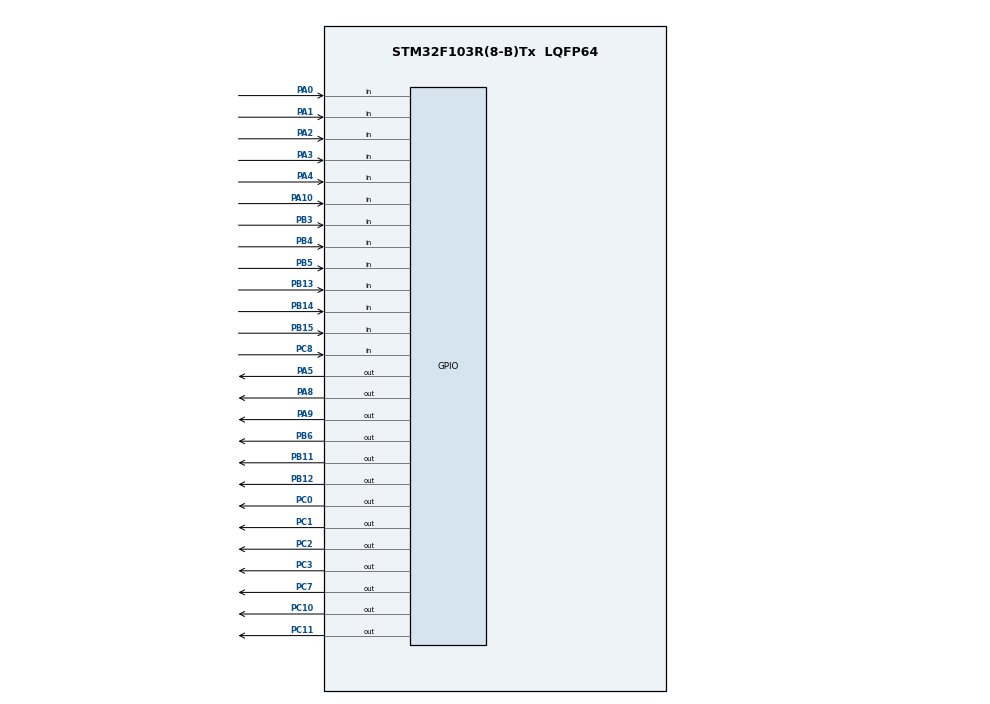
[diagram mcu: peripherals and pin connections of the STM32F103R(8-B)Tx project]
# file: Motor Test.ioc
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Mcu.Family=STM32F1
PC10.Signal=GPIO_Output
PC11.Signal=GPIO_Output
PC8.Signal=GPIO_Input
PC2.Signal=GPIO_Output
PC0.Signal=GPIO_Output
RCC.APB1CLKDivider=RCC_HCLK_DIV16
PB11.Signal=GPIO_Output
PB13.Signal=GPIO_Input
PB15.Signal=GPIO_Input
ProjectManager.StackSize=0x400
PA0-WKUP.Signal=GPIO_Input
PA13.Signal=SYS_JTMS-SWDIO
ProjectManager.TargetToolchain=STM32CubeIDE
PA9.Signal=GPIO_Output
PB6.Signal=GPIO_Output
PC7.Signal=GPIO_Output
PC3.Signal=GPIO_Output
PA1.Signal=GPIO_Input
PB14.Signal=GPIO_Input
PA5.Signal=GPIO_Output
board=custom
RCC.APB2Freq_Value=8000000
PA14.Mode=Serial_Wire
PA8.Signal=GPIO_Output
PA13.Mode=Serial_Wire
Mcu.Name=STM32F103R(8-B)Tx
PA2.Signal=GPIO_Input
PB3.Signal=GPIO_Input
PA4.Signal=GPIO_Input
Mcu.Package=LQFP64
PB5.Signal=GPIO_Input
PA10.Signal=GPIO_Input
PA14.Signal=SYS_JTCK-SWCLK
ProjectManager.HeapSize=0x200
NVIC.PriorityGroup=NVIC_PRIORITYGROUP_4
RCC.APB1TimFreq_Value=1000000
RCC.APB1Freq_Value=500000
PC1.Signal=GPIO_Output
PB12.Signal=GPIO_Output
PB4.Signal=GPIO_Input
PA3.Signal=GPIO_Input

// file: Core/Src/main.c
/* USER CODE BEGIN Header */
/**
 ******************************************************************************
 * @file           : main.c
 * @brief          : Main program body
 ******************************************************************************
 * @attention
 *
 * <h2><center>&copy; Copyright (c) 2021 STMicroelectronics.
 * All rights reserved.</center></h2>
 *
 * This software component is licensed by ST under BSD 3-Clause license,
 * the "License"; You may not use this file except in compliance with the
 * License. You may obtain a copy of the License at:
 *                        opensource.org/licenses/BSD-3-Clause
 *
 ******************************************************************************
 */
/* USER CODE END Header */
#include "main.h"

void SystemClock_Config(void);
static void MX_GPIO_Init(void);
/* USER CODE BEGIN PFP */
void Motors_Fw(void);
void Motors_Rv(void);
void Turn_R(void);
void Turn_L(void);
void Motors_Stp(void);
void Delay(uint32_t count);

uint16_t ultraSonicF(void);
uint16_t ultraSonicR(void);
uint16_t ultraSonicL(void);
uint16_t ultraSonicB(void);
/* USER CODE END PFP */

/* USER CODE BEGIN 0 */
const uint32_t motorDelay = 480;
//used to control the delay of the motor

const uint16_t defVal = 4000;
//used as default value for distance measurement using ultrasonic
//distance value will never be 4000

const uint16_t obstDistance = 39;
//maximum distance from robot to obstacle when moving ahead
const uint16_t turnDist = 150;
//maximum distance from robot to obstacle when turning
/* USER CODE END 0 */

int main(void)
{

  /* MCU Configuration--------------------------------------------------------*/

  /* Reset of all peripherals, Initializes the Flash interface and the Systick. */
  HAL_Init();

  /* Configure the system clock */
  SystemClock_Config();

  /* Initialize all configured peripherals */
  MX_GPIO_Init();
  /* USER CODE BEGIN 2 */
	int state = 1;

  /* USER CODE END 2 */

  /* Infinite loop */
  /* USER CODE BEGIN WHILE */
	while (1) {
		HAL_GPIO_WritePin(GPIOA, GPIO_PIN_8, GPIO_PIN_RESET);
////		HAL_Delay(2000);
////		HAL_GPIO_WritePin(GPIOA, GPIO_PIN_9, GPIO_PIN_RESET);
////		HAL_Delay(2000);

		if (HAL_GPIO_ReadPin(GPIOB, GPIO_PIN_15)) {
			state = 8;
			HAL_GPIO_WritePin(GPIOA, GPIO_PIN_5, GPIO_PIN_SET);
		} else {
			state = 3;
			HAL_GPIO_WritePin(GPIOA, GPIO_PIN_5, GPIO_PIN_RESET);
		}
		//HAL_Delay(5000);

		Motors_Fw();
//		Motors_Rv();
//		Turn_R();
//		Turn_L();
//		Motors_Stp();
    /* USER CODE END WHILE */

	}
}

void SystemClock_Config(void)
{
  RCC_OscInitTypeDef RCC_OscInitStruct = {0};
  RCC_ClkInitTypeDef RCC_ClkInitStruct = {0};

  /** Initializes the RCC Oscillators according to the specified parameters
  * in the RCC_OscInitTypeDef structure.
  */
  RCC_OscInitStruct.OscillatorType = RCC_OSCILLATORTYPE_HSI;
  RCC_OscInitStruct.HSIState = RCC_HSI_ON;
  RCC_OscInitStruct.HSICalibrationValue = RCC_HSICALIBRATION_DEFAULT;
  RCC_OscInitStruct.PLL.PLLState = RCC_PLL_NONE;
  if (HAL_RCC_OscConfig(&RCC_OscInitStruct) != HAL_OK)
  {
    Error_Handler();
  }
  /** Initializes the CPU, AHB and APB buses clocks
  */
  RCC_ClkInitStruct.ClockType = RCC_CLOCKTYPE_HCLK|RCC_CLOCKTYPE_SYSCLK
                              |RCC_CLOCKTYPE_PCLK1|RCC_CLOCKTYPE_PCLK2;
  RCC_ClkInitStruct.SYSCLKSource = RCC_SYSCLKSOURCE_HSI;
  RCC_ClkInitStruct.AHBCLKDivider = RCC_SYSCLK_DIV1;
  RCC_ClkInitStruct.APB1CLKDivider = RCC_HCLK_DIV16;
  RCC_ClkInitStruct.APB2CLKDivider = RCC_HCLK_DIV1;

  if (HAL_RCC_ClockConfig(&RCC_ClkInitStruct, FLASH_LATENCY_0) != HAL_OK)
  {
    Error_Handler();
  }
}

static void MX_GPIO_Init(void)
{
  GPIO_InitTypeDef GPIO_InitStruct = {0};

  /* GPIO Ports Clock Enable */
  __HAL_RCC_GPIOC_CLK_ENABLE();
  __HAL_RCC_GPIOA_CLK_ENABLE();
  __HAL_RCC_GPIOB_CLK_ENABLE();

  /*Configure GPIO pin Output Level */
  HAL_GPIO_WritePin(GPIOC, GPIO_PIN_0|GPIO_PIN_1|GPIO_PIN_2|GPIO_PIN_3
                          |GPIO_PIN_7|GPIO_PIN_10|GPIO_PIN_11, GPIO_PIN_RESET);

  /*Configure GPIO pin Output Level */
  HAL_GPIO_WritePin(GPIOA, GPIO_PIN_5|GPIO_PIN_8|GPIO_PIN_9, GPIO_PIN_RESET);

  /*Configure GPIO pin Output Level */
  HAL_GPIO_WritePin(GPIOB, GPIO_PIN_11|GPIO_PIN_12|GPIO_PIN_6, GPIO_PIN_RESET);

  /*Configure GPIO pins : PC0 PC1 PC2 PC3
                           PC7 PC10 PC11 */
  GPIO_InitStruct.Pin = GPIO_PIN_0|GPIO_PIN_1|GPIO_PIN_2|GPIO_PIN_3
                          |GPIO_PIN_7|GPIO_PIN_10|GPIO_PIN_11;
  GPIO_InitStruct.Mode = GPIO_MODE_OUTPUT_PP;
  GPIO_InitStruct.Pull = GPIO_NOPULL;
  GPIO_InitStruct.Speed = GPIO_SPEED_FREQ_LOW;
  HAL_GPIO_Init(GPIOC, &GPIO_InitStruct);

  /*Configure GPIO pins : PA0 PA1 PA2 PA3
                           PA4 PA10 */
  GPIO_InitStruct.Pin = GPIO_PIN_0|GPIO_PIN_1|GPIO_PIN_2|GPIO_PIN_3
                          |GPIO_PIN_4|GPIO_PIN_10;
  GPIO_InitStruct.Mode = GPIO_MODE_INPUT;
  GPIO_InitStruct.Pull = GPIO_NOPULL;
  HAL_GPIO_Init(GPIOA, &GPIO_InitStruct);

  /*Configure GPIO pins : PA5 PA8 PA9 */
  GPIO_InitStruct.Pin = GPIO_PIN_5|GPIO_PIN_8|GPIO_PIN_9;
  GPIO_InitStruct.Mode = GPIO_MODE_OUTPUT_PP;
  GPIO_InitStruct.Pull = GPIO_NOPULL;
  GPIO_InitStruct.Speed = GPIO_SPEED_FREQ_LOW;
  HAL_GPIO_Init(GPIOA, &GPIO_InitStruct);

  /*Configure GPIO pins : PB11 PB12 PB6 */
  GPIO_InitStruct.Pin = GPIO_PIN_11|GPIO_PIN_12|GPIO_PIN_6;
  GPIO_InitStruct.Mode = GPIO_MODE_OUTPUT_PP;
  GPIO_InitStruct.Pull = GPIO_NOPULL;
  GPIO_InitStruct.Speed = GPIO_SPEED_FREQ_LOW;
  HAL_GPIO_Init(GPIOB, &GPIO_InitStruct);

  /*Configure GPIO pins : PB13 PB14 PB15 PB3
                           PB4 PB5 */
  GPIO_InitStruct.Pin = GPIO_PIN_13|GPIO_PIN_14|GPIO_PIN_15|GPIO_PIN_3
                          |GPIO_PIN_4|GPIO_PIN_5;
  GPIO_InitStruct.Mode = GPIO_MODE_INPUT;
  GPIO_InitStruct.Pull = GPIO_NOPULL;
  HAL_GPIO_Init(GPIOB, &GPIO_InitStruct);

  /*Configure GPIO pin : PC8 */
  GPIO_InitStruct.Pin = GPIO_PIN_8;
  GPIO_InitStruct.Mode = GPIO_MODE_INPUT;
  GPIO_InitStruct.Pull = GPIO_NOPULL;
  HAL_GPIO_Init(GPIOC, &GPIO_InitStruct);

}

/* USER CODE BEGIN 4 */
void Delay(uint32_t count) {
	for (int i = 0; i < count; i++) {

	}
}

void Motors_Rv(void) {
	HAL_GPIO_WritePin(GPIOC, GPIO_PIN_11, GPIO_PIN_SET);
	HAL_GPIO_WritePin(GPIOC, GPIO_PIN_10, GPIO_PIN_RESET);
	HAL_GPIO_WritePin(GPIOB, GPIO_PIN_11, GPIO_PIN_RESET);
	HAL_GPIO_WritePin(GPIOB, GPIO_PIN_12, GPIO_PIN_RESET);
	HAL_GPIO_WritePin(GPIOC, GPIO_PIN_12, GPIO_PIN_RESET);
}
void Motors_Fw(void) {
	HAL_GPIO_WritePin(GPIOC, GPIO_PIN_11, GPIO_PIN_RESET);
	HAL_GPIO_WritePin(GPIOC, GPIO_PIN_10, GPIO_PIN_RESET);
	HAL_GPIO_WritePin(GPIOB, GPIO_PIN_11, GPIO_PIN_SET);
	HAL_GPIO_WritePin(GPIOB, GPIO_PIN_12, GPIO_PIN_RESET);
	HAL_GPIO_WritePin(GPIOC, GPIO_PIN_12, GPIO_PIN_RESET);
}
void Turn_L(void) {
	HAL_GPIO_WritePin(GPIOC, GPIO_PIN_11, GPIO_PIN_RESET);
	HAL_GPIO_WritePin(GPIOC, GPIO_PIN_10, GPIO_PIN_SET);
	HAL_GPIO_WritePin(GPIOB, GPIO_PIN_11, GPIO_PIN_RESET);
	HAL_GPIO_WritePin(GPIOB, GPIO_PIN_12, GPIO_PIN_RESET);
	HAL_GPIO_WritePin(GPIOC, GPIO_PIN_12, GPIO_PIN_RESET);
}
void Turn_R(void) {
	HAL_GPIO_WritePin(GPIOC, GPIO_PIN_11, GPIO_PIN_RESET);
	HAL_GPIO_WritePin(GPIOC, GPIO_PIN_10, GPIO_PIN_RESET);
	HAL_GPIO_WritePin(GPIOB, GPIO_PIN_11, GPIO_PIN_RESET);
	HAL_GPIO_WritePin(GPIOB, GPIO_PIN_12, GPIO_PIN_SET);
	HAL_GPIO_WritePin(GPIOC, GPIO_PIN_12, GPIO_PIN_RESET);
}
void Motors_Stp(void) {
	HAL_GPIO_WritePin(GPIOC, GPIO_PIN_11, GPIO_PIN_RESET);
	HAL_GPIO_WritePin(GPIOC, GPIO_PIN_10, GPIO_PIN_RESET);
	HAL_GPIO_WritePin(GPIOB, GPIO_PIN_11, GPIO_PIN_RESET);
	HAL_GPIO_WritePin(GPIOB, GPIO_PIN_12, GPIO_PIN_RESET);
	HAL_GPIO_WritePin(GPIOC, GPIO_PIN_12, GPIO_PIN_SET);
}
uint16_t ultraSonicF() {
	uint8_t status = 0;
	uint32_t distance = defVal;

	HAL_GPIO_WritePin(GPIOC, GPIO_PIN_0, GPIO_PIN_SET);
	HAL_Delay(0.001);
	HAL_GPIO_WritePin(GPIOC, GPIO_PIN_0, GPIO_PIN_RESET);
	HAL_Delay(0.01);

	if (HAL_GPIO_ReadPin(GPIOB, GPIO_PIN_4)) {
		status = 1;
		distance = 0;

		while (status == 1) {
			Delay(10);
			if (HAL_GPIO_ReadPin(GPIOB, GPIO_PIN_4)) {
				distance++;
			} else {
				status = 0;
			}
		}
	}

	return (distance);
}
uint16_t ultraSonicR() {
	uint8_t status = 0;
	uint32_t distance = defVal;

	HAL_GPIO_WritePin(GPIOC, GPIO_PIN_1, GPIO_PIN_SET);
	HAL_Delay(0.001);
	HAL_GPIO_WritePin(GPIOC, GPIO_PIN_1, GPIO_PIN_RESET);
	HAL_Delay(0.01);

	if (HAL_GPIO_ReadPin(GPIOB, GPIO_PIN_5)) {
		status = 1;
		distance = 0;

		while (status == 1) {
			Delay(10);
			if (HAL_GPIO_ReadPin(GPIOB, GPIO_PIN_5)) {
				distance++;
			} else {
				status = 0;
			}
		}
	}
	return (distance);
}
uint16_t ultraSonicL() {
	uint8_t status = 0;
	uint32_t distance = defVal;

	HAL_GPIO_WritePin(GPIOC, GPIO_PIN_2, GPIO_PIN_SET);
	HAL_Delay(0.001);
	HAL_GPIO_WritePin(GPIOC, GPIO_PIN_2, GPIO_PIN_RESET);
	HAL_Delay(0.01);

	if (HAL_GPIO_ReadPin(GPIOB, GPIO_PIN_14)) {
		status = 1;
		distance = 0;

		while (status == 1) {
			Delay(10);
			if (HAL_GPIO_ReadPin(GPIOC, GPIO_PIN_14)) {
				distance++;
			} else {
				status = 0;
			}
		}
	}
	return (distance);
}
uint16_t ultraSonicB() {
	uint8_t status = 0;
	uint32_t distance = defVal;

	HAL_GPIO_WritePin(GPIOC, GPIO_PIN_3, GPIO_PIN_SET);
	HAL_Delay(0.001);
	HAL_GPIO_WritePin(GPIOC, GPIO_PIN_3, GPIO_PIN_RESET);
	HAL_Delay(0.01);

	if (HAL_GPIO_ReadPin(GPIOB, GPIO_PIN_13)) {
		status = 1;
		distance = 0;

		while (status == 1) {
			Delay(10);
			if (HAL_GPIO_ReadPin(GPIOC, GPIO_PIN_13)) {
				distance++;
			} else {
				status = 0;
			}
		}
	}
	return (distance);
}
/* USER CODE END 4 */

void Error_Handler(void)
{
	__disable_irq();
	while (1) {
	}
}

/************************ (C) COPYRIGHT STMicroelectronics *****END OF FILE****/
